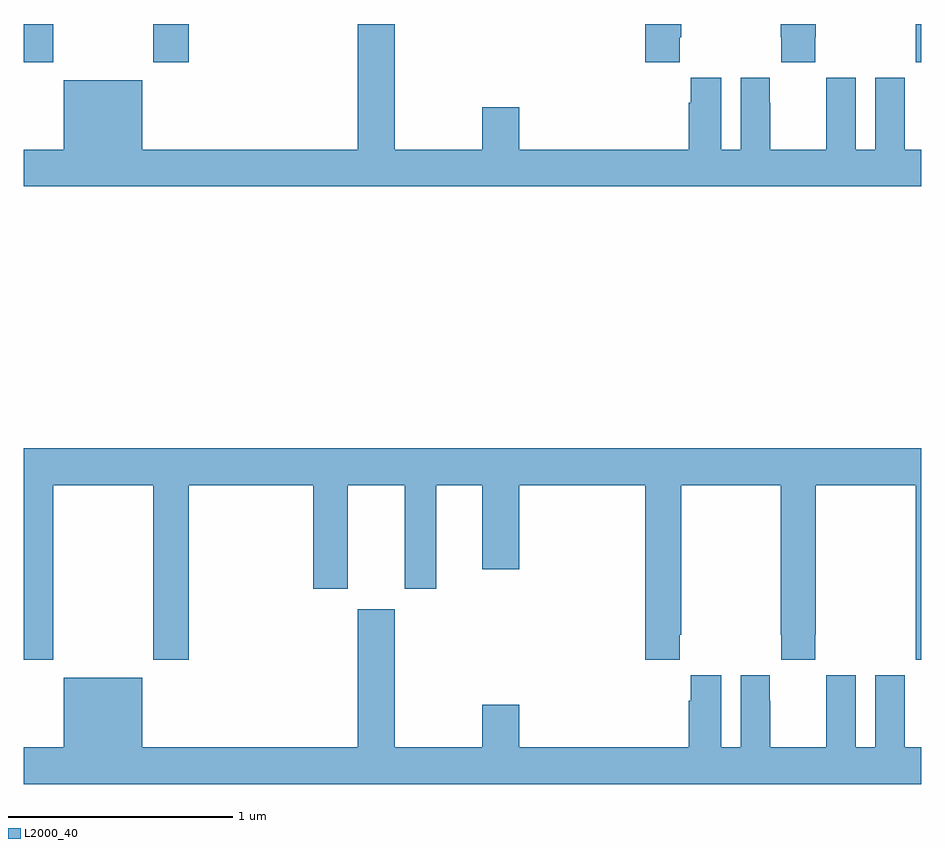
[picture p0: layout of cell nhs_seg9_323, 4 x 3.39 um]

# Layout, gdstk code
import gdstk
lib = gdstk.Library(unit=1e-6, precision=1e-09)
def R(c, l, rs):  # rectangles x0, y0, x1, y1
    for r in rs: c.add(gdstk.rectangle(r[:2], r[2:], *l))
def P(c, l, *ps):  # polygons
    for p in ps: c.add(gdstk.Polygon(p, *l))
L2000_40 = (2000, 40)

nhs_seg9_323 = lib.new_cell('nhs_seg9_323')
R(nhs_seg9_323, L2000_40, [(127,1174.329,127.131,1174.5), (127.576,1174.329,127.736,1174.5)])
P(nhs_seg9_323, L2000_40, [(129.923,1174.441),(129.93,1174.441),(129.93,1174.5),(129.77,1174.5),(129.77,1174.329),(129.923,1174.329)],
  [(130.527,1174.441),(130.53,1174.441),(130.53,1174.5),(130.375,1174.5),(130.375,1174.441),(130.377,1174.441),(130.377,1174.329),(130.527,1174.329)],
  [(131,1174.5),(130.975,1174.5),(130.975,1174.441),(130.977,1174.441),(130.977,1174.329),(131,1174.329)],
  [(131,1173.94),(130.927,1173.94),(130.927,1174.148),(130.926,1174.148),(130.926,1174.261),(130.796,1174.261),(130.796,1173.94),(130.708,1173.94),(130.708,1174.261),(130.578,1174.261),(130.578,1174.148),(130.577,1174.148),(130.577,1173.94),(130.327,1173.94),(130.327,1174.148),(130.326,1174.148),(130.326,1174.261),(130.196,1174.261),(130.196,1173.94),(130.108,1173.94),(130.108,1174.261),(129.974,1174.261),(129.974,1174.148),(129.965,1174.148),(129.965,1173.94),(129.208,1173.94),(129.208,1174.129),(129.044,1174.129),(129.044,1173.94),(128.653,1173.94),(128.653,1174.5),(128.489,1174.5),(128.489,1173.94),(127.528,1173.94),(127.528,1174.249),(127.178,1174.249),(127.178,1173.94),(127,1173.94),(127,1173.776),(131,1173.776)],
  [(127.131,1172.444),(127.576,1172.444),(127.576,1171.665),(127.736,1171.665),(127.736,1172.444),(128.291,1172.444),(128.291,1171.983),(128.443,1171.983),(128.443,1172.444),(128.699,1172.444),(128.699,1171.983),(128.839,1171.983),(128.839,1172.444),(129.044,1172.444),(129.044,1172.07),(129.208,1172.07),(129.208,1172.444),(129.77,1172.444),(129.77,1171.665),(129.923,1171.665),(129.923,1171.777),(129.93,1171.777),(129.93,1172.444),(130.375,1172.444),(130.375,1171.777),(130.377,1171.777),(130.377,1171.665),(130.527,1171.665),(130.527,1171.777),(130.53,1171.777),(130.53,1172.444),(130.975,1172.444),(130.975,1171.777),(130.977,1171.777),(130.977,1171.665),(131,1171.665),(131,1172.608),(127,1172.608),(127,1171.665),(127.131,1171.665)],
  [(131,1171.276),(130.927,1171.276),(130.927,1171.484),(130.926,1171.484),(130.926,1171.597),(130.796,1171.597),(130.796,1171.276),(130.708,1171.276),(130.708,1171.597),(130.578,1171.597),(130.578,1171.484),(130.577,1171.484),(130.577,1171.276),(130.327,1171.276),(130.327,1171.484),(130.326,1171.484),(130.326,1171.597),(130.196,1171.597),(130.196,1171.276),(130.108,1171.276),(130.108,1171.597),(129.974,1171.597),(129.974,1171.484),(129.965,1171.484),(129.965,1171.276),(129.208,1171.276),(129.208,1171.465),(129.044,1171.465),(129.044,1171.276),(128.653,1171.276),(128.653,1171.891),(128.489,1171.891),(128.489,1171.276),(127.528,1171.276),(127.528,1171.585),(127.178,1171.585),(127.178,1171.276),(127,1171.276),(127,1171.112),(131,1171.112)])

lib.write_gds('nhs_seg9_323.gds')
